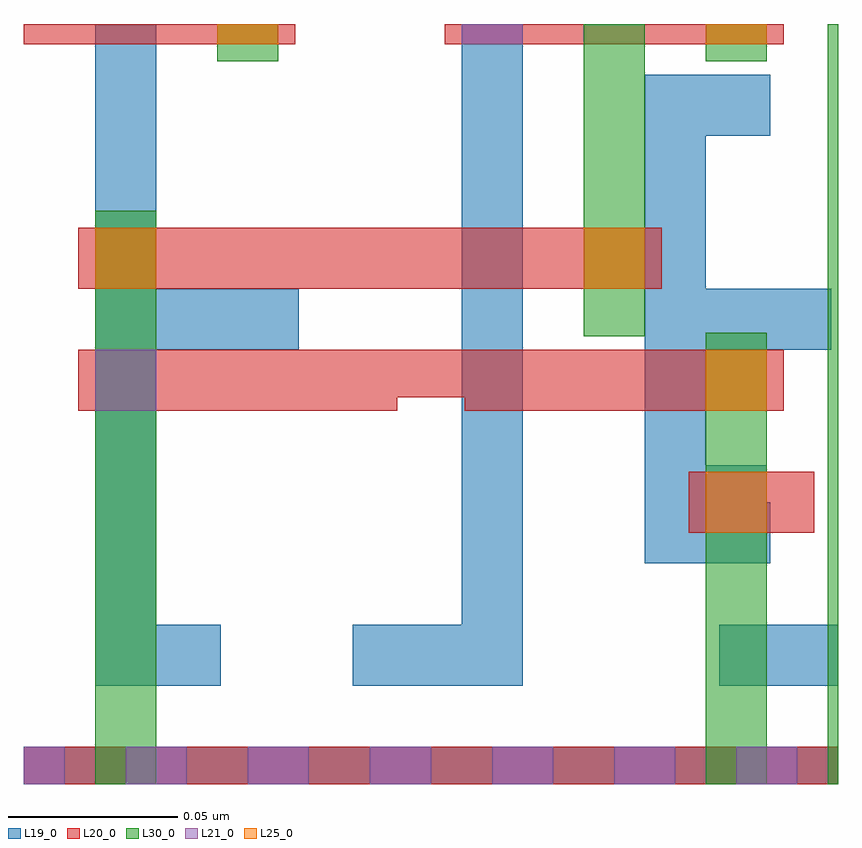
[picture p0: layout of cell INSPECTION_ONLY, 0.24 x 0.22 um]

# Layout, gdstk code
import gdstk
lib = gdstk.Library(unit=1e-6, precision=2.5e-10)
def R(c, l, rs):  # rectangles x0, y0, x1, y1
    for r in rs: c.add(gdstk.rectangle(r[:2], r[2:], *l))
def A(c, l, x, y, w, h, nx, ny, dx, dy):  # array of equal rectangles
    R(c, l, [(x+i*dx, y+j*dy, x+i*dx+w, y+j*dy+h) for i in range(nx) for j in range(ny)])
def P(c, l, *ps):  # polygons
    for p in ps: c.add(gdstk.Polygon(p, *l))
L19_0 = (19, 0)
L20_0 = (20, 0)
L21_0 = (21, 0)
L25_0 = (25, 0)
L30_0 = (30, 0)

inspection_only = lib.new_cell('INSPECTION_ONLY')
R(inspection_only, L19_0, [(2.103,2.968,2.343,2.979), (2.103,2.968,2.343,2.979), (2.103,2.968,2.16,2.979), (2.103,2.968,2.106,2.979), (2.106,2.968,2.268,2.979), (2.16,2.968,2.214,2.979), (2.214,2.968,2.343,2.979), (2.268,2.968,2.343,2.979), (2.308,2.997,2.343,3.015), (2.304,3.04,2.322,3.062), (2.124,3.076,2.142,3.098), (2.232,3.184,2.25,3.192)])
P(inspection_only, L19_0, [(2.286,3.033),(2.286,3.177),(2.323,3.177),(2.323,3.159),(2.304,3.159),(2.304,3.114),(2.341,3.114),(2.341,3.096),(2.304,3.096),(2.304,3.051),(2.323,3.051),(2.323,3.033)],
  [(2.124,2.997),(2.124,3.192),(2.142,3.192),(2.142,3.114),(2.184,3.114),(2.184,3.096),(2.142,3.096),(2.142,3.015),(2.161,3.015),(2.161,2.997)],
  [(2.2,2.997),(2.2,3.015),(2.232,3.015),(2.232,3.192),(2.25,3.192),(2.25,2.997)])
R(inspection_only, L20_0, [(2.103,2.968,2.343,2.979), (2.299,3.042,2.336,3.06), (2.119,3.114,2.291,3.132), (2.103,3.186,2.183,3.192), (2.227,3.186,2.327,3.192)])
P(inspection_only, L20_0, [(2.119,3.078),(2.119,3.096),(2.327,3.096),(2.327,3.078),(2.233,3.078),(2.233,3.082),(2.213,3.082),(2.213,3.078)])
A(inspection_only, L21_0, 2.133, 2.968, 0.018, 0.011, 6, 1, 0.036, 0)
R(inspection_only, L21_0, [(2.103,2.968,2.115,2.979), (2.304,3.042,2.322,3.06), (2.124,3.078,2.142,3.096), (2.232,3.186,2.25,3.192)])
R(inspection_only, L25_0, [(2.304,3.042,2.322,3.06), (2.304,3.078,2.322,3.096), (2.124,3.114,2.142,3.132), (2.268,3.114,2.286,3.132), (2.16,3.186,2.178,3.192), (2.304,3.186,2.322,3.192)])
R(inspection_only, L30_0, [(2.124,2.968,2.142,3.137), (2.304,2.968,2.322,3.101), (2.34,2.968,2.343,3.192), (2.268,3.1,2.286,3.192), (2.16,3.181,2.178,3.192), (2.304,3.181,2.322,3.192)])

lib.write_gds('INSPECTION_ONLY.gds')
